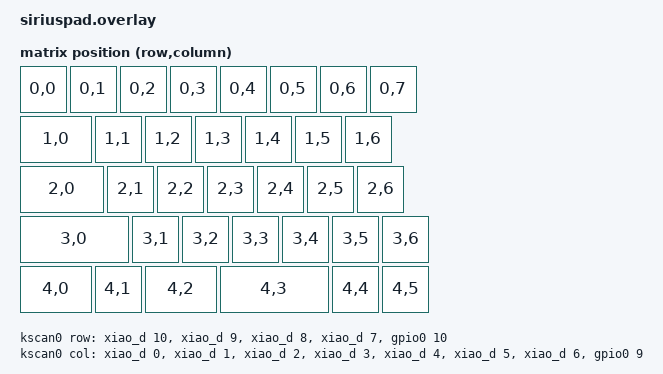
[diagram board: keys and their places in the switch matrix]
#include <dt-bindings/zmk/matrix_transform.h>
#include <physical_layouts.dtsi>

/ {
    chosen {
        zmk,physical-layout = &sirius_physical_layout;
    };
    
    sirius_physical_layout: sirius_physical_layout {
        compatible = "zmk,physical-layout";
        display-name = "Default";
        transform = <&default_transform>;
        kscan = <&kscan0>;

        keys  //                     w   h    x    y     rot    rx    ry
            = <&key_physical_attrs 100 100    0    0       0     0     0>
            , <&key_physical_attrs 100 100  100    0       0     0     0>
            , <&key_physical_attrs 100 100  200    0       0     0     0>
            , <&key_physical_attrs 100 100  300    0       0     0     0>
            , <&key_physical_attrs 100 100  400    0       0     0     0>
            , <&key_physical_attrs 100 100  500    0       0     0     0>
            , <&key_physical_attrs 100 100  600    0       0     0     0>
            , <&key_physical_attrs 100 100  700    0       0     0     0>

            , <&key_physical_attrs 150 100    0  100       0     0     0>
            , <&key_physical_attrs 100 100  150  100       0     0     0>
            , <&key_physical_attrs 100 100  250  100       0     0     0>
            , <&key_physical_attrs 100 100  350  100       0     0     0>
            , <&key_physical_attrs 100 100  450  100       0     0     0>
            , <&key_physical_attrs 100 100  550  100       0     0     0>
            , <&key_physical_attrs 100 100  650  100       0     0     0>

            , <&key_physical_attrs 175 100    0  200       0     0     0>
            , <&key_physical_attrs 100 100  175  200       0     0     0>
            , <&key_physical_attrs 100 100  275  200       0     0     0>
            , <&key_physical_attrs 100 100  375  200       0     0     0>
            , <&key_physical_attrs 100 100  475  200       0     0     0>
            , <&key_physical_attrs 100 100  575  200       0     0     0>
            , <&key_physical_attrs 100 100  675  200       0     0     0>

            , <&key_physical_attrs 225 100    0  300       0     0     0>
            , <&key_physical_attrs 100 100  225  300       0     0     0>
            , <&key_physical_attrs 100 100  325  300       0     0     0>
            , <&key_physical_attrs 100 100  425  300       0     0     0>
            , <&key_physical_attrs 100 100  525  300       0     0     0>
            , <&key_physical_attrs 100 100  625  300       0     0     0>
            , <&key_physical_attrs 100 100  725  300       0     0     0>
            
            , <&key_physical_attrs 150 100    0  400       0     0     0>
            , <&key_physical_attrs 100 100  150  400       0     0     0>
            , <&key_physical_attrs 150 100  250  400       0     0     0>
            , <&key_physical_attrs 225 100  400  400       0     0     0>
            , <&key_physical_attrs 100 100  625  400       0     0     0>
            , <&key_physical_attrs 100 100  725  400       0     0     0>
            ;
    };

    default_transform: keymap_transform_0 {
        compatible = "zmk,matrix-transform";
        columns = <8>;
        rows = <5>;               
        map = <
            RC(0,0) RC(0,1) RC(0,2) RC(0,3) RC(0,4) RC(0,5) RC(0,6) RC(0,7)
            RC(1,0) RC(1,1) RC(1,2) RC(1,3) RC(1,4) RC(1,5) RC(1,6)
            RC(2,0) RC(2,1) RC(2,2) RC(2,3) RC(2,4) RC(2,5) RC(2,6)
            RC(3,0) RC(3,1) RC(3,2) RC(3,3) RC(3,4) RC(3,5) RC(3,6)
            RC(4,0) RC(4,1) RC(4,2) RC(4,3) RC(4,4) RC(4,5)
        >;
    };
    
    kscan0: kscan {
        compatible = "zmk,kscan-gpio-matrix";
        label = "KSCAN";
        diode-direction = "col2row";
        row-gpios
            = <&xiao_d 10 (GPIO_ACTIVE_HIGH | GPIO_PULL_DOWN)>
            , <&xiao_d 9 (GPIO_ACTIVE_HIGH | GPIO_PULL_DOWN)>
            , <&xiao_d 8 (GPIO_ACTIVE_HIGH | GPIO_PULL_DOWN)>
            , <&xiao_d 7 (GPIO_ACTIVE_HIGH | GPIO_PULL_DOWN)>
            , <&gpio0 10 (GPIO_ACTIVE_HIGH | GPIO_PULL_DOWN)>
            ;
        col-gpios
            = <&xiao_d 0 GPIO_ACTIVE_HIGH>
            , <&xiao_d 1 GPIO_ACTIVE_HIGH>
            , <&xiao_d 2 GPIO_ACTIVE_HIGH>
            , <&xiao_d 3 GPIO_ACTIVE_HIGH>
            , <&xiao_d 4 GPIO_ACTIVE_HIGH>
            , <&xiao_d 5 GPIO_ACTIVE_HIGH>
            , <&xiao_d 6 GPIO_ACTIVE_HIGH>
            , <&gpio0 9 GPIO_ACTIVE_HIGH>
            ;
        };
};
